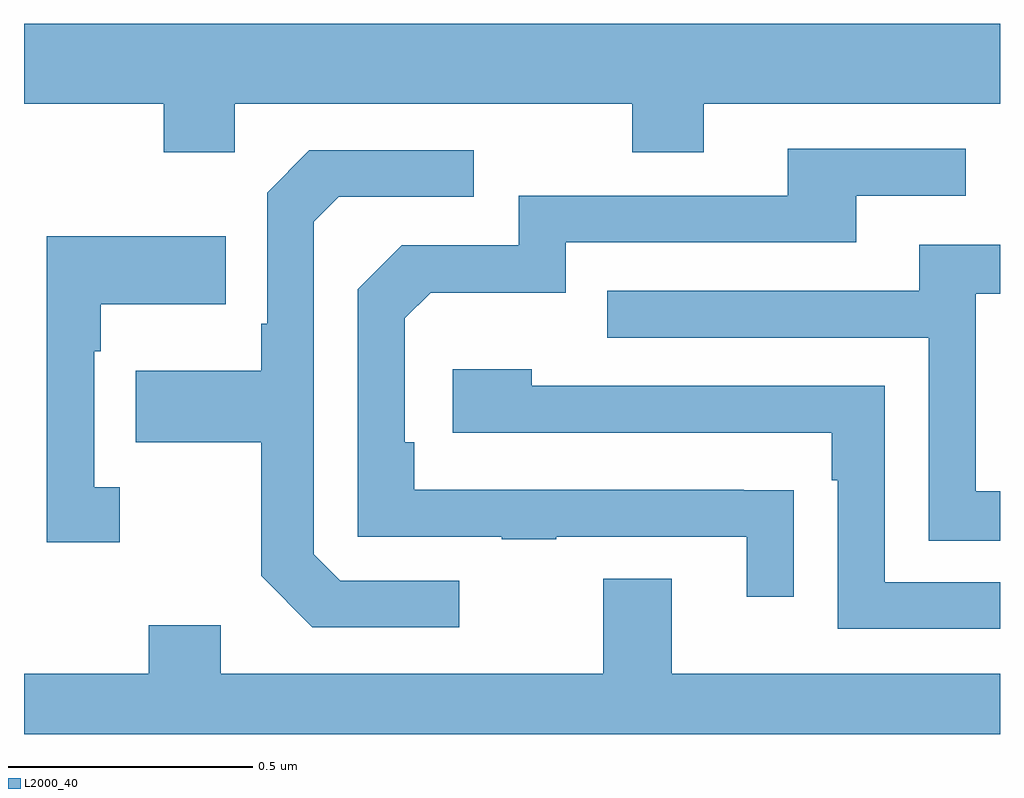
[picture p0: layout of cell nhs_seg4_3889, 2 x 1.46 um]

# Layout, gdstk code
import gdstk
lib = gdstk.Library(unit=1e-6, precision=1e-09)
def P(c, l, *ps):  # polygons
    for p in ps: c.add(gdstk.Polygon(p, *l))
L2000_40 = (2000, 40)

nhs_seg4_3889 = lib.new_cell('nhs_seg4_3889')
P(nhs_seg4_3889, L2000_40, [(159.432,758.192),(160.246,758.192),(160.246,758.093),(160.393,758.093),(160.393,758.192),(161,758.192),(161,758.356),(159,758.356),(159,758.192),(159.286,758.192),(159.286,758.093),(159.432,758.093)],
  [(160.577,757.4),(160.475,757.4),(160.475,757.401),(159.8,757.401),(159.8,757.498),(159.78,757.498),(159.78,757.752),(159.833,757.805),(160.11,757.805),(160.11,757.908),(160.705,757.908),(160.705,758.004),(160.93,758.004),(160.93,758.1),(160.565,758.1),(160.565,758.004),(160.014,758.004),(160.014,757.902),(159.774,757.902),(159.684,757.812),(159.684,757.305),(159.979,757.305),(159.979,757.3),(160.091,757.3),(160.091,757.305),(160.481,757.305),(160.481,757.182),(160.577,757.182)],
  [(159.892,757.215),(159.648,757.215),(159.594,757.269),(159.594,757.95),(159.645,758.001),(159.922,758.001),(159.922,758.097),(159.585,758.097),(159.498,758.01),(159.498,757.741),(159.486,757.741),(159.486,757.645),(159.229,757.645),(159.229,757.498),(159.486,757.498),(159.486,757.225),(159.591,757.119),(159.892,757.119)],
  [(159.196,757.406),(159.144,757.406),(159.144,757.685),(159.157,757.685),(159.157,757.781),(159.413,757.781),(159.413,757.921),(159.047,757.921),(159.047,757.293),(159.196,757.293)],
  [(161,757.398),(160.95,757.398),(160.95,757.803),(161,757.803),(161,757.903),(160.835,757.903),(160.835,757.809),(160.195,757.809),(160.195,757.713),(160.854,757.713),(160.854,757.297),(161,757.297)],
  [(161,757.212),(160.764,757.212),(160.764,757.614),(160.04,757.614),(160.04,757.648),(159.879,757.648),(159.879,757.518),(160.655,757.518),(160.655,757.421),(160.668,757.421),(160.668,757.116),(161,757.116)],
  [(161,757.024),(160.327,757.024),(160.327,757.219),(160.187,757.219),(160.187,757.024),(159.403,757.024),(159.403,757.123),(159.256,757.123),(159.256,757.024),(159,757.024),(159,756.9),(161,756.9)])

lib.write_gds('nhs_seg4_3889.gds')
